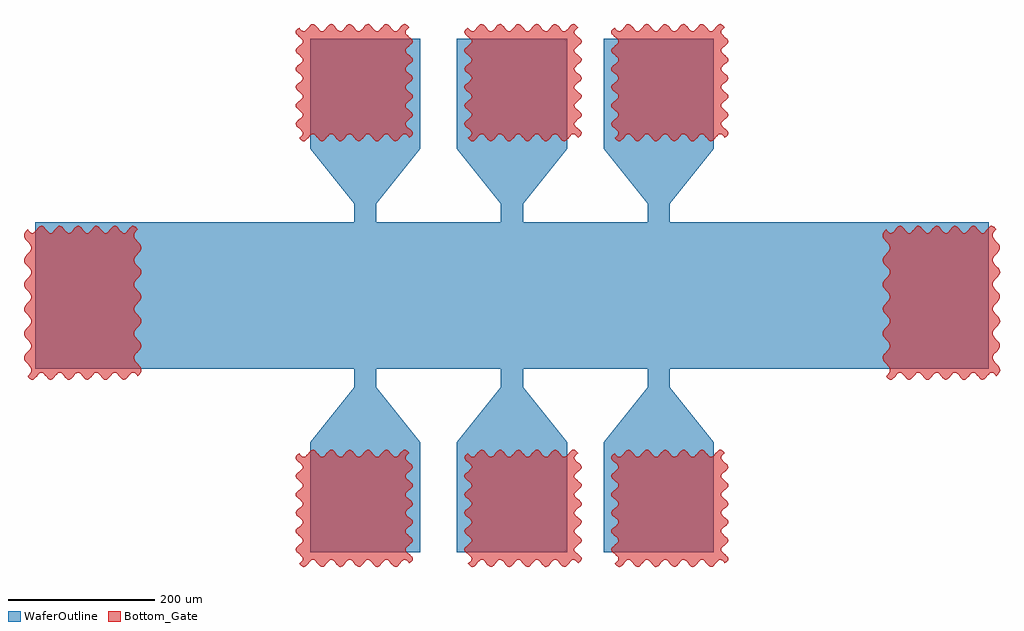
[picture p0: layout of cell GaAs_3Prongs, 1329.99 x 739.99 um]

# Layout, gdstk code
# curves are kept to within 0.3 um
import gdstk
lib = gdstk.Library(unit=1e-6, precision=1e-09)
def R(c, l, rs):  # rectangles x0, y0, x1, y1
    for r in rs: c.add(gdstk.rectangle(r[:2], r[2:], *l))
def P(c, l, *ps):  # polygons
    for p in ps: c.add(gdstk.Polygon(p, *l))
WaferOutline = (1, 0)
Bottom_Gate = (2, 0)

lowerhallbarcontact_1 = lib.new_cell('LowerHallbarContact$1')
R(lowerhallbarcontact_1, WaferOutline, [(-75,-75,75,75)])
P(lowerhallbarcontact_1, WaferOutline, [(-75,75),(-15,150),(-15,75)],
  [(15,75),(15,150),(75,75)])
lowerhallbarcontact_1.add(gdstk.FlexPath([(0,75),(0,175)], 30, ends="flush", simple_path=True, layer=1, datatype=0))  # WaferOutline

experimentalohmics_2 = lib.new_cell('ExperimentalOhmics$2')
P(experimentalohmics_2, Bottom_Gate, [(-68.939,-79.994),(-71.97,-78.45),(-75,-75),(-70.452,-70.455),(-70.006,-68.939),(-70.275,-67.424),(-72.709,-64.394),(-78.091,-59.848),(-79.949,-56.818),(-79.859,-55.303),(-79.073,-53.788),(-70.927,-46.212),(-70.141,-44.697),(-70.051,-43.182),(-71.909,-40.152),(-78.779,-34.091),(-79.725,-32.576),(-79.994,-31.061),(-78.45,-28.03),(-71.55,-21.97),(-70.006,-18.939),(-70.275,-17.424),(-71.221,-15.909),(-78.091,-9.848),(-79.949,-6.818),(-79.859,-5.303),(-79.073,-3.788),(-70.927,3.788),(-70.141,5.303),(-70.051,6.818),(-71.909,9.848),(-78.779,15.909),(-79.725,17.424),(-79.994,18.939),(-78.45,21.97),(-71.55,28.03),(-70.006,31.061),(-70.275,32.576),(-71.221,34.091),(-78.091,40.152),(-79.949,43.182),(-79.859,44.697),(-79.073,46.212),(-70.927,53.788),(-70.141,55.303),(-70.051,56.818),(-71.909,59.848),(-77.291,64.394),(-79.725,67.424),(-79.994,68.939),(-78.45,71.97),(-75,75),(-70.455,70.452),(-68.939,70.006),(-67.424,70.275),(-64.394,72.709),(-59.848,78.091),(-56.818,79.949),(-55.303,79.859),(-53.788,79.073),(-46.212,70.927),(-44.697,70.141),(-43.182,70.051),(-40.152,71.909),(-34.091,78.779),(-32.576,79.725),(-31.061,79.994),(-28.03,78.45),(-21.97,71.55),(-18.939,70.006),(-17.424,70.275),(-15.909,71.221),(-9.848,78.091),(-6.818,79.949),(-5.303,79.859),(-3.788,79.073),(3.788,70.927),(5.303,70.141),(6.818,70.051),(9.848,71.909),(15.909,78.779),(17.424,79.725),(18.939,79.994),(21.97,78.45),(28.03,71.55),(31.061,70.006),(32.576,70.275),(34.091,71.221),(40.152,78.091),(43.182,79.949),(44.697,79.859),(46.212,79.073),(53.788,70.927),(55.303,70.141),(56.818,70.051),(59.848,71.909),(64.394,77.291),(67.424,79.725),(68.939,79.994),(71.97,78.45),(75,75),(70.452,70.455),(70.006,68.939),(70.275,67.424),(72.709,64.394),(78.091,59.848),(79.949,56.818),(79.859,55.303),(79.073,53.788),(70.927,46.212),(70.141,44.697),(70.051,43.182),(71.909,40.152),(78.779,34.091),(79.725,32.576),(79.994,31.061),(78.45,28.03),(71.55,21.97),(70.006,18.939),(70.275,17.424),(71.221,15.909),(78.091,9.848),(79.949,6.818),(79.859,5.303),(79.073,3.788),(70.927,-3.788),(70.141,-5.303),(70.051,-6.818),(71.909,-9.848),(78.779,-15.909),(79.725,-17.424),(79.994,-18.939),(78.45,-21.97),(71.55,-28.03),(70.006,-31.061),(70.275,-32.576),(71.221,-34.091),(78.091,-40.152),(79.949,-43.182),(79.859,-44.697),(79.073,-46.212),(70.927,-53.788),(70.141,-55.303),(70.051,-56.818),(71.909,-59.848),(77.291,-64.394),(79.725,-67.424),(79.994,-68.939),(78.45,-71.97),(75,-75),(70.455,-70.452),(68.939,-70.006),(67.424,-70.275),(64.394,-72.709),(59.848,-78.091),(56.818,-79.949),(55.303,-79.859),(53.788,-79.073),(46.212,-70.927),(44.697,-70.141),(43.182,-70.051),(40.152,-71.909),(34.091,-78.779),(32.576,-79.725),(31.061,-79.994),(28.03,-78.45),(21.97,-71.55),(18.939,-70.006),(17.424,-70.275),(15.909,-71.221),(9.848,-78.091),(6.818,-79.949),(5.303,-79.859),(3.788,-79.073),(-3.788,-70.927),(-5.303,-70.141),(-6.818,-70.051),(-9.848,-71.909),(-15.909,-78.779),(-17.424,-79.725),(-18.939,-79.994),(-21.97,-78.45),(-28.03,-71.55),(-31.061,-70.006),(-32.576,-70.275),(-34.091,-71.221),(-40.152,-78.091),(-43.182,-79.949),(-44.697,-79.859),(-46.212,-79.073),(-53.788,-70.927),(-55.303,-70.141),(-56.818,-70.051),(-59.848,-71.909),(-65.909,-78.779),(-67.424,-79.725)])

upperhallbarcontact_1 = lib.new_cell('UpperHallbarContact$1')
R(upperhallbarcontact_1, WaferOutline, [(-75,-75,75,75)])
P(upperhallbarcontact_1, WaferOutline, [(-15,-150),(-75,-75),(-15,-75)],
  [(15,-150),(15,-75),(75,-75)])
upperhallbarcontact_1.add(gdstk.FlexPath([(0,-75),(0,-175)], 30, ends="flush", simple_path=True, layer=1, datatype=0))  # WaferOutline

leftrightcontacts_1 = lib.new_cell('LeftRightContacts$1')
R(leftrightcontacts_1, WaferOutline, [(-75,-100,75,100)])

experimentalohmics = lib.new_cell('ExperimentalOhmics')
P(experimentalohmics, Bottom_Gate, [(-68.939,-104.994),(-71.97,-103.45),(-75,-100),(-71.55,-95.96),(-70.452,-93.939),(-70.006,-91.919),(-70.275,-89.899),(-72.709,-85.859),(-78.091,-79.798),(-79.949,-75.758),(-79.859,-73.737),(-79.073,-71.717),(-70.927,-61.616),(-70.141,-59.596),(-70.051,-57.576),(-71.909,-53.535),(-78.779,-45.455),(-79.725,-43.434),(-79.994,-41.414),(-79.548,-39.394),(-78.45,-37.374),(-71.55,-29.293),(-70.452,-27.273),(-70.006,-25.253),(-70.275,-23.232),(-71.221,-21.212),(-78.091,-13.131),(-79.949,-9.091),(-79.859,-7.071),(-79.073,-5.051),(-70.927,5.051),(-70.141,7.071),(-70.051,9.091),(-71.909,13.131),(-78.779,21.212),(-79.725,23.232),(-79.994,25.253),(-79.548,27.273),(-78.45,29.293),(-71.55,37.374),(-70.452,39.394),(-70.006,41.414),(-70.275,43.434),(-71.221,45.455),(-78.091,53.535),(-79.949,57.576),(-79.859,59.596),(-79.073,61.616),(-70.927,71.717),(-70.141,73.737),(-70.051,75.758),(-71.909,79.798),(-77.291,85.859),(-79.725,89.899),(-79.994,91.919),(-79.548,93.939),(-78.45,95.96),(-75,100),(-70.455,95.452),(-68.939,95.006),(-67.424,95.275),(-64.394,97.709),(-59.848,103.091),(-56.818,104.949),(-55.303,104.859),(-53.788,104.073),(-46.212,95.927),(-44.697,95.141),(-43.182,95.051),(-40.152,96.909),(-34.091,103.779),(-32.576,104.725),(-31.061,104.994),(-28.03,103.45),(-21.97,96.55),(-18.939,95.006),(-17.424,95.275),(-15.909,96.221),(-9.848,103.091),(-6.818,104.949),(-5.303,104.859),(-3.788,104.073),(3.788,95.927),(5.303,95.141),(6.818,95.051),(9.848,96.909),(15.909,103.779),(17.424,104.725),(18.939,104.994),(21.97,103.45),(28.03,96.55),(31.061,95.006),(32.576,95.275),(34.091,96.221),(40.152,103.091),(43.182,104.949),(44.697,104.859),(46.212,104.073),(53.788,95.927),(55.303,95.141),(56.818,95.051),(59.848,96.909),(65.909,103.779),(67.424,104.725),(68.939,104.994),(70.455,104.548),(75,100),(71.55,95.96),(70.452,93.939),(70.006,91.919),(70.275,89.899),(72.709,85.859),(78.091,79.798),(79.949,75.758),(79.859,73.737),(79.073,71.717),(70.927,61.616),(70.141,59.596),(70.051,57.576),(71.909,53.535),(78.779,45.455),(79.725,43.434),(79.994,41.414),(79.548,39.394),(78.45,37.374),(71.55,29.293),(70.452,27.273),(70.006,25.253),(70.275,23.232),(71.221,21.212),(78.091,13.131),(79.949,9.091),(79.859,7.071),(79.073,5.051),(70.927,-5.051),(70.141,-7.071),(70.051,-9.091),(71.909,-13.131),(78.779,-21.212),(79.725,-23.232),(79.994,-25.253),(79.548,-27.273),(78.45,-29.293),(71.55,-37.374),(70.452,-39.394),(70.006,-41.414),(70.275,-43.434),(71.221,-45.455),(78.091,-53.535),(79.949,-57.576),(79.859,-59.596),(79.073,-61.616),(70.927,-71.717),(70.141,-73.737),(70.051,-75.758),(71.909,-79.798),(77.291,-85.859),(79.725,-89.899),(79.994,-91.919),(79.548,-93.939),(78.45,-95.96),(75,-100),(70.455,-95.452),(68.939,-95.006),(67.424,-95.275),(64.394,-97.709),(59.848,-103.091),(56.818,-104.949),(55.303,-104.859),(53.788,-104.073),(46.212,-95.927),(44.697,-95.141),(43.182,-95.051),(40.152,-96.909),(34.091,-103.779),(32.576,-104.725),(31.061,-104.994),(28.03,-103.45),(21.97,-96.55),(18.939,-95.006),(17.424,-95.275),(15.909,-96.221),(9.848,-103.091),(6.818,-104.949),(5.303,-104.859),(3.788,-104.073),(-3.788,-95.927),(-5.303,-95.141),(-6.818,-95.051),(-9.848,-96.909),(-15.909,-103.779),(-17.424,-104.725),(-18.939,-104.994),(-21.97,-103.45),(-28.03,-96.55),(-31.061,-95.006),(-32.576,-95.275),(-34.091,-96.221),(-40.152,-103.091),(-43.182,-104.949),(-44.697,-104.859),(-46.212,-104.073),(-53.788,-95.927),(-55.303,-95.141),(-56.818,-95.051),(-59.848,-96.909),(-65.909,-103.779),(-67.424,-104.725)])

hallbarsquare_1 = lib.new_cell('HallbarSquare$1')
R(hallbarsquare_1, WaferOutline, [(-500,-100,500,100)])

gaas_3prongs = lib.new_cell('GaAs_3Prongs')
r = gdstk.Reference(lowerhallbarcontact_1, (-200,-275)); r.repetition = gdstk.Repetition(3, 1, v1=(200,0), v2=(0,0)); gaas_3prongs.add(r)
gaas_3prongs.add(gdstk.Reference(experimentalohmics_2, (15,-290)))
r = gdstk.Reference(upperhallbarcontact_1, (-200,275)); r.repetition = gdstk.Repetition(3, 1, v1=(200,0), v2=(0,0)); gaas_3prongs.add(r)
r = gdstk.Reference(leftrightcontacts_1, (-575,0)); r.repetition = gdstk.Repetition(2, 1, v1=(1150,0), v2=(0,0)); gaas_3prongs.add(r)
r = gdstk.Reference(experimentalohmics, (-585,-10)); r.repetition = gdstk.Repetition(2, 1, v1=(1170,0), v2=(0,0)); gaas_3prongs.add(r)
gaas_3prongs.add(gdstk.Reference(hallbarsquare_1, (0,0)))
gaas_3prongs.add(gdstk.Reference(experimentalohmics_2, (-215,-290)))
gaas_3prongs.add(gdstk.Reference(experimentalohmics_2, (-215,290)))
gaas_3prongs.add(gdstk.Reference(experimentalohmics_2, (15,290)))
gaas_3prongs.add(gdstk.Reference(experimentalohmics_2, (215,-290)))
gaas_3prongs.add(gdstk.Reference(experimentalohmics_2, (215,290)))

lib.write_gds('GaAs_3Prongs.gds')
